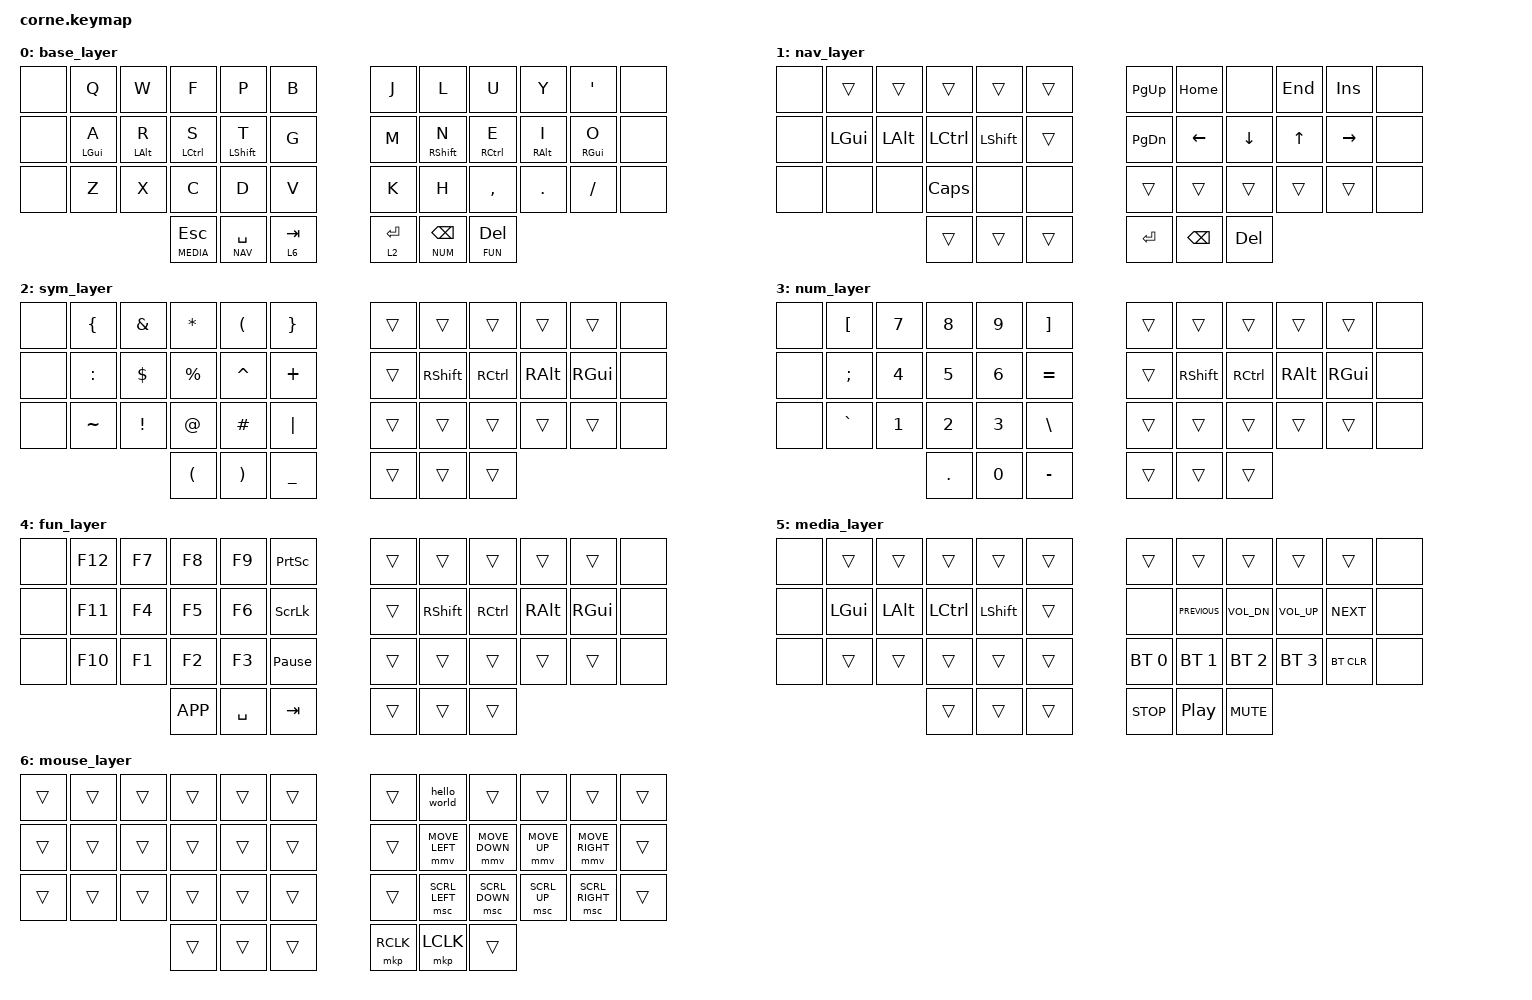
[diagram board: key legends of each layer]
// Miryoku Colemak-DH for Chocofi (36-key Corne)
// Outer columns (&none) are not physically present on the Chocofi

#include <behaviors.dtsi>
#include <dt-bindings/zmk/bt.h>
#include <dt-bindings/zmk/keys.h>
#include <dt-bindings/zmk/pointing.h>

#define BASE  0
#define NAV   1
#define SYM   2
#define NUM   3
#define FUN   4
#define MEDIA 5

/ {
    behaviors {
        hm: homerow_mods {
            compatible = "zmk,behavior-hold-tap";
            #binding-cells = <2>;
            tapping-term-ms = <280>;
            quick-tap-ms = <175>;
            flavor = "tap-preferred";
            bindings = <&kp>, <&kp>;
        };
    };

    combos {
        compatible = "zmk,combos";

        // Shift combos — faster than home row mod hold

        combo_lshift {
            timeout-ms = <50>;
            key-positions = <16 17>;
            bindings = <&kp LSHFT>;
        };

        combo_rshift {
            timeout-ms = <50>;
            key-positions = <18 19>;
            bindings = <&kp RSHFT>;
        };

        // Bracket combos — vertical (top row + home row), left hand

        combo_lbrace {
            timeout-ms = <50>;
            key-positions = <2 14>;
            bindings = <&kp LBRC>;
        };

        combo_lbkt {
            timeout-ms = <50>;
            key-positions = <3 15>;
            bindings = <&kp LBKT>;
        };

        combo_lpar {
            timeout-ms = <50>;
            key-positions = <4 16>;
            bindings = <&kp LPAR>;
        };

        // Bracket combos — vertical (top row + home row), right hand

        combo_rpar {
            timeout-ms = <50>;
            key-positions = <7 19>;
            bindings = <&kp RPAR>;
        };

        combo_rbkt {
            timeout-ms = <50>;
            key-positions = <8 20>;
            bindings = <&kp RBKT>;
        };

        combo_rbrace {
            timeout-ms = <50>;
            key-positions = <9 21>;
            bindings = <&kp RBRC>;
        };

        combo_lshift_two {
            bindings = <&kp LEFT_SHIFT>;
            key-positions = <16 37>;
        };

        combo_rshift_two {
            bindings = <&kp RIGHT_SHIFT>;
            key-positions = <19 40>;
        };

        combo_switchless_off {
            bindings = <&soft_off>;
            key-positions = <5 6 38 39 1 10>;
        };
    };

    macros {
        hello_world: hello_world {
            compatible = "zmk,behavior-macro";
            #binding-cells = <0>;
            bindings = <&none &kp LS(H) &kp E &kp L &kp L &kp O &kp COMMA &kp SPACE &kp W &kp O &kp R &kp L &kp D &kp EXCL>;
            label = "HELLO_WORLD";
        };
    };

    keymap {
        compatible = "zmk,keymap";

        // ──────────────────────────────────────────────────────────────────────
        // BASE — Colemak-DH
        // Left  home row: A=GUI  R=Alt  S=Ctrl  T=Shift
        // Right home row: N=Shift  E=Ctrl  I=Alt  O=GUI
        // Left  thumbs (outer→inner): Esc(Media)  Space(Nav)  Tab(Mouse)
        // Right thumbs (inner→outer): Enter(Sym)  Bksp(Num)  Del(Fun)
        // ──────────────────────────────────────────────────────────────────────

        base_layer {
            bindings = <
&none  &kp Q       &kp W       &kp F               &kp P             &kp B        &kp J        &kp L         &kp U        &kp Y       &kp SQT     &none
&none  &hm LGUI A  &hm LALT R  &hm LEFT_CONTROL S  &hm LEFT_SHIFT T  &kp G        &kp M        &hm RSHFT N   &hm RCTRL E  &hm RALT I  &hm RGUI O  &none
&none  &kp Z       &kp X       &kp C               &kp D             &kp V        &kp K        &kp H         &kp COMMA    &kp DOT     &kp FSLH    &none
                               &lt MEDIA ESC       &lt NAV SPACE     &lt 6 TAB    &lt 2 ENTER  &lt NUM BSPC  &lt FUN DEL
            >;
        };

        // ──────────────────────────────────────────────────────────────────────
        // NAV — Navigation (hold Space)
        // Right: arrow cluster + page/home/end
        // Left:  modifiers + macOS clipboard
        // ──────────────────────────────────────────────────────────────────────

        nav_layer {
            bindings = <
&none  &trans    &trans    &trans            &trans          &trans    &kp PG_UP  &kp HOME  &none     &kp END       &kp INS    &none
&none  &kp LGUI  &kp LALT  &kp LEFT_CONTROL  &kp LEFT_SHIFT  &trans    &kp PG_DN  &kp LEFT  &kp DOWN  &kp UP_ARROW  &kp RIGHT  &none
&none  &none     &none     &kp CAPSLOCK      &none           &none     &trans     &trans    &trans    &trans        &trans     &none
                           &trans            &trans          &trans    &kp RET    &kp BSPC  &kp DEL
            >;
        };

        // ──────────────────────────────────────────────────────────────────────
        // SYM — Symbols (hold Enter)
        // Left:  symbols (shifted Num equivalents)
        // Right: modifiers
        // Thumbs: ( ) _
        // ──────────────────────────────────────────────────────────────────────

        sym_layer {
            bindings = <
&none  &kp LBRC   &kp AMPS  &kp ASTRK  &kp LPAR   &kp RBRC     &trans  &trans     &trans     &trans    &trans    &none
&none  &kp COLON  &kp DLLR  &kp PRCNT  &kp CARET  &kp PLUS     &trans  &kp RSHFT  &kp RCTRL  &kp RALT  &kp RGUI  &none
&none  &kp TILDE  &kp EXCL  &kp AT     &kp HASH   &kp PIPE     &trans  &trans     &trans     &trans    &trans    &none
                            &kp LPAR   &kp RPAR   &kp UNDER    &trans  &trans     &trans
            >;
        };

        // ──────────────────────────────────────────────────────────────────────
        // NUM — Numbers (hold Backspace)
        // Left:  numpad layout
        // Right: modifiers
        // Thumbs: . 0 -
        // ──────────────────────────────────────────────────────────────────────

        num_layer {
            bindings = <
&none  &kp LBKT   &kp N7  &kp N8   &kp N9  &kp RBKT     &trans  &trans     &trans     &trans    &trans    &none
&none  &kp SEMI   &kp N4  &kp N5   &kp N6  &kp EQUAL    &trans  &kp RSHFT  &kp RCTRL  &kp RALT  &kp RGUI  &none
&none  &kp GRAVE  &kp N1  &kp N2   &kp N3  &kp BSLH     &trans  &trans     &trans     &trans    &trans    &none
                          &kp DOT  &kp N0  &kp MINUS    &trans  &trans     &trans
            >;
        };

        // ──────────────────────────────────────────────────────────────────────
        // FUN — Function keys (hold Delete)
        // Left:  F-keys (mirrors Num positions)
        // Right: modifiers
        // ──────────────────────────────────────────────────────────────────────

        fun_layer {
            bindings = <
&none  &kp F12  &kp F7  &kp F8     &kp F9     &kp PSCRN          &trans  &trans     &trans     &trans    &trans    &none
&none  &kp F11  &kp F4  &kp F5     &kp F6     &kp SLCK           &trans  &kp RSHFT  &kp RCTRL  &kp RALT  &kp RGUI  &none
&none  &kp F10  &kp F1  &kp F2     &kp F3     &kp PAUSE_BREAK    &trans  &trans     &trans     &trans    &trans    &none
                        &kp K_APP  &kp SPACE  &kp TAB            &trans  &trans     &trans
            >;
        };

        // ──────────────────────────────────────────────────────────────────────
        // MEDIA — Media + Bluetooth (hold Esc)
        // Right home: prev / vol-dn / vol-up / next
        // Right bottom: BT profiles 0–3 + BT clear
        // Thumbs: stop  play/pause  mute
        // ──────────────────────────────────────────────────────────────────────

        media_layer {
            bindings = <
&none  &trans    &trans    &trans            &trans          &trans    &trans        &trans          &trans        &trans           &trans      &none
&none  &kp LGUI  &kp LALT  &kp LEFT_CONTROL  &kp LEFT_SHIFT  &trans    &none         &kp C_PREVIOUS  &kp C_VOL_DN  &kp C_VOLUME_UP  &kp C_NEXT  &none
&none  &trans    &trans    &trans            &trans          &trans    &bt BT_SEL 0  &bt BT_SEL 1    &bt BT_SEL 2  &bt BT_SEL 3     &bt BT_CLR  &none
                           &trans            &trans          &trans    &kp C_STOP    &kp C_PP        &kp C_MUTE
            >;
        };

        mouse_layer {
            bindings = <
&trans  &trans  &trans  &trans  &trans  &trans    &trans     &hello_world    &trans          &trans        &trans           &trans
&trans  &trans  &trans  &trans  &trans  &trans    &trans     &mmv MOVE_LEFT  &mmv MOVE_DOWN  &mmv MOVE_UP  &mmv MOVE_RIGHT  &trans
&trans  &trans  &trans  &trans  &trans  &trans    &trans     &msc SCRL_LEFT  &msc SCRL_DOWN  &msc SCRL_UP  &msc SCRL_RIGHT  &trans
                        &trans  &trans  &trans    &mkp RCLK  &mkp LCLK       &trans
            >;
        };
    };
};
